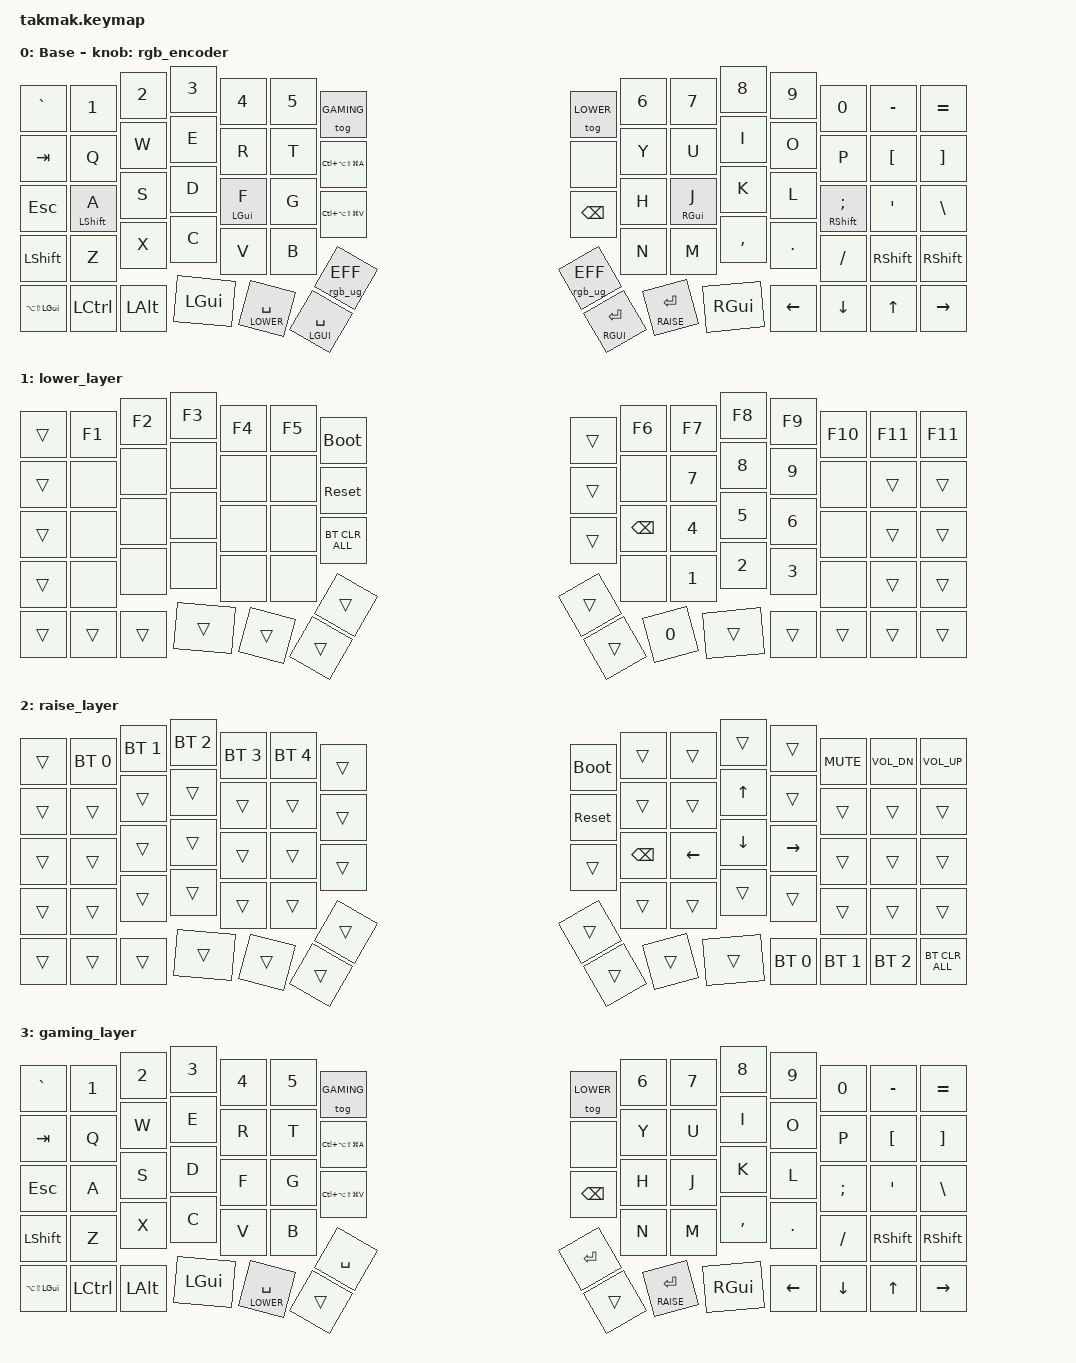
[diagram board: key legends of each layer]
/*
 * Copyright (c) 2020 The ZMK Contributors
 *
 * SPDX-License-Identifier: MIT
 */

#include <behaviors.dtsi>
#include <dt-bindings/zmk/keys.h>
#include <dt-bindings/zmk/bt.h>
#include <dt-bindings/zmk/rgb.h>

// https://github.com/urob/zmk-config
// #include "../zmk-nodefree-config/helper.h"

// RC(0)  RC(1)  RC(2)  RC(3)  RC(4)  RC(5)  RC(6)      RC(7)  RC(8)  RC(9)  RC(10) RC(11) RC(12) RC(13) RC(14)
// RC(15) RC(16) RC(17) RC(18) RC(19) RC(20) RC(21)     RC(22) RC(23) RC(24) RC(25) RC(26) RC(27) RC(28) RC(29)
// RC(30) RC(31) RC(32) RC(33) RC(34) RC(35) RC(36)     RC(37) RC(38) RC(39) RC(40) RC(41) RC(42) RC(43) RC(44)
// RC(45) RC(46) RC(47) RC(48) RC(49) RC(50) RC(51)     RC(52) RC(53) RC(54) RC(55) RC(56) RC(57) RC(58) RC(59)
// RC(60) RC(61) RC(62) RC(63) RC(64)        RC(65)     RC(66)        RC(67) RC(68) RC(69) RC(70) RC(71) RC(72)

#define KEYS_L 0 1 2 3 4 5 6 15 16 17 18 19 20 21 30 31 32 33 34 35 36 45 46 47 48 49 50 51  // left-hand keys
#define KEYS_R 7 8 9 10 11 12 13 14 22 23 24 25 26 27 28 29 37 38 39 40 41 42 43 44 52 53 54 55 56 57 58 59  // right-hand keys
#define THUMBS 45 60 61 62 63 66 67 68 69 70 58 59 // thumb keys

/* left-hand HRMs */
// ZMK_BEHAVIOR(hml, hold_tap,
//     flavor = "balanced";
//     tapping-term-ms = <200>;
//     quick-tap-ms = <175>;                // repeat on tap-into-hold
//     global-quick-tap;
//     bindings = <&kp>, <&kp>;
//     hold-trigger-key-positions = <KEYS_R THUMBS>;
// )

/* right-hand HRMs */
// ZMK_BEHAVIOR(hmr, hold_tap,
//     flavor = "balanced";
//     tapping-term-ms = <200>;
//     quick-tap-ms = <175>;                // repeat on tap-into-hold
//     global-quick-tap;
//     bindings = <&kp>, <&kp>;
//     hold-trigger-key-positions = <KEYS_L THUMBS>;
// )

#define DEFAULT 0
#define LOWER   1
#define RAISE   2
#define GAMING  3

#define ZOOMA LC(LA(LS(LG(A))))
#define ZOOMV LC(LA(LS(LG(V))))
#define COMBO LA(LS(LGUI))

&led_strip {
    chain-length = <40>;
};

/ {
    macros {
        twilio: twilio {
            compatible = "zmk,behavior-macro";
            #binding-cells = <0>;
            bindings
                = <&macro_press &kp LSHFT>
                , <&macro_tap &kp T>
                , <&macro_release &kp LSHFT>
                , <&macro_tap &kp W &kp I &kp L &kp I &kp O &kp DOT &kp A &kp G &kp A &kp I &kp N &kp DOT &kp A &kp S &kp K &kp I &kp N &kp G &kp DOT &kp N2 &kp N0>
                , <&macro_press &kp LSHFT>
                , <&macro_tap &kp C>
                , <&macro_release &kp LSHFT>
                , <&macro_tap &kp H>
                ;
        };
    };
};

/ {
    behaviors {
        rgb_encoder: right_encoder {
            compatible = "zmk,behavior-sensor-rotate";
            #sensor-binding-cells = <0>;
            bindings = <&rgb_ug RGB_BRI>, <&rgb_ug RGB_BRD>;
        };

        hml: left_positional_hold_tap {
            compatible = "zmk,behavior-hold-tap";
            #binding-cells = < 2>;
            flavor = "balanced";
            tapping-term-ms = <200>; // <---[[produces tap if held longer than tapping-term-ms]]
            quick-tap-ms = <100>;
            bindings = <&kp>, <&kp>;
            hold-trigger-key-positions = <KEYS_R THUMBS>;
        };

        hmr: right_positional_hold_tap {
            compatible = "zmk,behavior-hold-tap";
            #binding-cells = < 2>;
            flavor = "balanced";
            tapping-term-ms = <200>; // <---[[produces tap if held longer than tapping-term-ms]]
            quick-tap-ms = <100>;
            bindings = <&kp>, <&kp>;
            hold-trigger-key-positions = <KEYS_L THUMBS>;
        };
    };

    keymap {
        compatible = "zmk,keymap";

        default_layer {
            display-name = "Base";

            sensor-bindings = <&rgb_encoder>;

            bindings = <
&kp GRAVE   &kp N1          &kp N2      &kp N3       &kp N4            &kp N5    &tog GAMING               &tog LOWER     &kp N6   &kp N7          &kp N8      &kp N9     &kp N0             &kp MINUS    &kp EQUAL
&kp TAB     &kp Q           &kp W       &kp E        &kp R             &kp T     &kp ZOOMA                 &none          &kp Y    &kp U           &kp I       &kp O      &kp P              &kp LBKT     &kp RBKT
&kp ESC     &hml LSHIFT A   &kp S       &kp D        &hml LGUI F       &kp G     &kp ZOOMV                 &kp BSPC       &kp H    &hmr RGUI J     &kp K       &kp L      &hmr RSHIFT SEMI   &kp SQT      &kp BSLH
&kp LSHFT   &kp Z           &kp X       &kp C        &kp V             &kp B     &rgb_ug RGB_EFF           &rgb_ug RGB_EFF   &kp N    &kp M           &kp COMMA   &kp DOT    &kp FSLH           &kp RSHIFT   &kp RSHIFT
&kp COMBO   &kp LCTRL       &kp LALT    &kp LGUI     &lt LOWER SPACE             &lt LGUI SPACE            &lt RGUI RET                   &lt RAISE RET   &kp RGUI    &kp LEFT   &kp DOWN           &kp UP       &kp RIGHT
>; // Do I really need to &lt here?
        };

        lower_layer {
            bindings = <
&trans    &kp F1   &kp F2   &kp F3   &kp F4   &kp F5  &bootloader          &trans   &kp F6     &kp F7   &kp F8   &kp F9    &kp F10   &kp F11   &kp F11
&trans    &none    &none    &none    &none    &none   &sys_reset           &trans   &none      &kp N7   &kp N8   &kp N9    &none     &trans    &trans
&trans    &none    &none    &none    &none    &none   &bt BT_CLR_ALL       &trans   &kp BSPC   &kp N4   &kp N5   &kp N6    &none     &trans    &trans
&trans    &none    &none    &none    &none    &none   &trans               &trans   &none      &kp N1   &kp N2   &kp N3    &none     &trans    &trans
&trans    &trans   &trans   &trans   &trans           &trans               &trans              &kp N0   &trans   &trans    &trans    &trans    &trans
>;
        };

        raise_layer {
            bindings = <
&trans    &bt BT_SEL 0  &bt BT_SEL 1 &bt BT_SEL 2 &bt BT_SEL 3    &bt BT_SEL 4   &trans         &bootloader  &trans       &trans       &trans    &trans         &kp K_MUTE    &kp C_VOL_DN &kp C_VOL_UP
&trans    &trans        &trans       &trans       &trans          &trans         &trans         &sys_reset   &trans       &trans       &kp UP    &trans         &trans        &trans       &trans
&trans    &trans        &trans       &trans       &trans          &trans         &trans         &trans       &kp BSPC     &kp LEFT     &kp DOWN  &kp RIGHT      &trans        &trans       &trans
&trans    &trans        &trans       &trans       &trans          &trans         &trans         &trans       &trans       &trans       &trans    &trans         &trans        &trans        &trans
&trans    &trans        &trans       &trans       &trans                         &trans         &trans                    &trans       &trans    &bt BT_SEL 0   &bt BT_SEL 1  &bt BT_SEL 2  &bt BT_CLR_ALL
>;
        };

        gaming_layer {
            bindings = <
&kp GRAVE   &kp N1      &kp N2     &kp N3     &kp N4            &kp N5   &tog GAMING          &tog LOWER     &kp N6   &kp N7          &kp N8      &kp N9     &kp N0     &kp MINUS    &kp EQUAL
&kp TAB     &kp Q       &kp W      &kp E      &kp R             &kp T    &kp ZOOMA            &none          &kp Y    &kp U           &kp I       &kp O      &kp P      &kp LBKT     &kp RBKT
&kp ESC     &kp A       &kp S      &kp D      &kp F             &kp G    &kp ZOOMV            &kp BSPC       &kp H    &kp J           &kp K       &kp L      &kp SEMI   &kp SQT      &kp BSLH
&kp LSHFT   &kp Z       &kp X      &kp C      &kp V             &kp B    &kp SPACE            &kp RET   &kp N    &kp M           &kp COMMA   &kp DOT    &kp FSLH   &kp RSHIFT   &kp RSHIFT
&kp COMBO   &kp LCTRL   &kp LALT   &kp LGUI   &lt LOWER SPACE            &trans               &trans                  &lt RAISE RET   &kp RGUI    &kp LEFT   &kp DOWN   &kp UP       &kp RIGHT
>;
        };
    };
};
